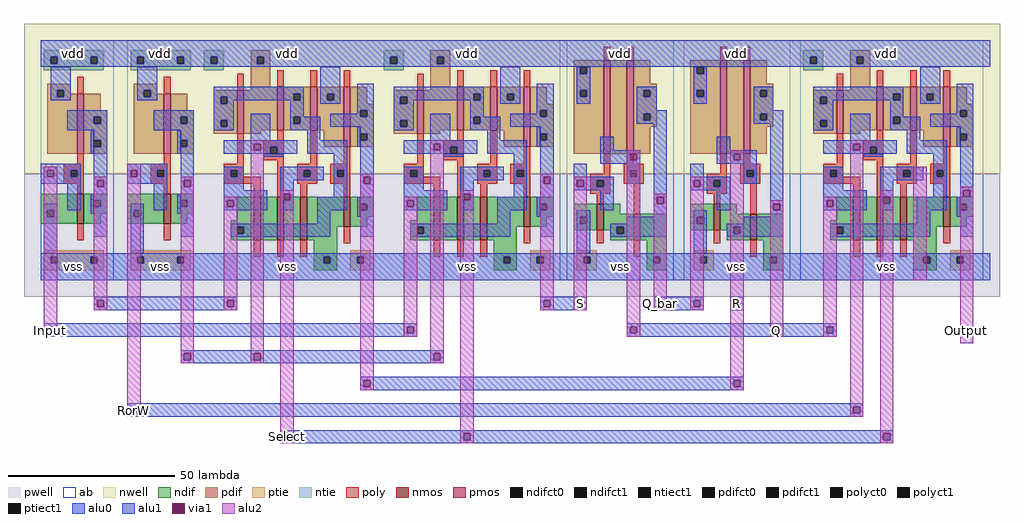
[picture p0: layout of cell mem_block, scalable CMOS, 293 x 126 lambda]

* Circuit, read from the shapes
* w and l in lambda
.subckt mem_block Input Output Q Q_bar R RorW S Select vdd vss
M1 n1 Input vss vss nfet w=9 l=2
M2 n2 RorW vss vss nfet w=9 l=2
M3 n3 n1 n4 vss nfet w=13 l=2
M4 n5 n2 n3 vss nfet w=13 l=2
M5 vss Select n5 vss nfet w=13 l=2
M6 R n4 vss vss nfet w=9 l=2
M7 n6 Input n7 vss nfet w=13 l=2
M8 n8 n2 n6 vss nfet w=13 l=2
M9 vss Select n8 vss nfet w=13 l=2
M10 S n7 vss vss nfet w=9 l=2
M11 Q_bar S vss vss nfet w=8 l=2
M12 vss Q Q_bar vss nfet w=8 l=2
M13 Q Q_bar vss vss nfet w=8 l=2
M14 vss R Q vss nfet w=8 l=2
M15 n9 Q n10 vss nfet w=13 l=2
M16 n11 RorW n9 vss nfet w=13 l=2
M17 vss Select n11 vss nfet w=13 l=2
M18 Output n10 vss vss nfet w=9 l=2
M19 n1 Input vdd vdd pfet w=18 l=2
M20 n2 RorW vdd vdd pfet w=18 l=2
M21 vdd n1 n4 vdd pfet w=13 l=2
M22 n4 n2 vdd vdd pfet w=13 l=2
M23 vdd Select n4 vdd pfet w=13 l=2
M24 R n4 vdd vdd pfet w=18 l=2
M25 vdd Input n7 vdd pfet w=13 l=2
M26 n7 n2 vdd vdd pfet w=13 l=2
M27 vdd Select n7 vdd pfet w=13 l=2
M28 S n7 vdd vdd pfet w=18 l=2
M29 n12 S vdd vdd pfet w=28 l=2
M30 Q_bar Q n12 vdd pfet w=28 l=2
M31 n13 Q_bar vdd vdd pfet w=28 l=2
M32 Q R n13 vdd pfet w=28 l=2
M33 vdd Q n10 vdd pfet w=13 l=2
M34 n10 RorW vdd vdd pfet w=13 l=2
M35 vdd Select n10 vdd pfet w=13 l=2
M36 Output n10 vdd vdd pfet w=18 l=2
.ends

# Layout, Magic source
magic
tech scmos
<< ab >>
rect -179 -34 -157 38
rect -153 -34 -23 38
rect -21 -34 11 38
rect 14 -34 46 38
rect 49 -34 104 38
<< nwell >>
rect -184 -2 109 43
<< pwell >>
rect -184 -39 109 -2
<< poly >>
rect -168 22 -166 27
rect -142 22 -140 27
rect -120 23 -118 28
rect -10 32 -8 36
rect -3 32 -1 36
rect 25 32 27 36
rect 32 32 34 36
rect -108 24 -106 29
rect -98 24 -96 29
rect -88 24 -86 29
rect -168 1 -166 4
rect -142 1 -140 4
rect -120 1 -118 10
rect -108 8 -106 11
rect -112 6 -106 8
rect -112 4 -110 6
rect -108 4 -106 6
rect -112 2 -106 4
rect -172 -1 -166 1
rect -172 -3 -170 -1
rect -168 -3 -166 -1
rect -172 -5 -166 -3
rect -146 -1 -140 1
rect -146 -3 -144 -1
rect -142 -3 -140 -1
rect -146 -5 -140 -3
rect -124 -1 -118 1
rect -124 -3 -122 -1
rect -120 -3 -118 -1
rect -124 -5 -113 -3
rect -168 -8 -166 -5
rect -142 -8 -140 -5
rect -115 -9 -113 -5
rect -108 -9 -106 2
rect -98 1 -96 11
rect -66 23 -64 28
rect -54 24 -52 29
rect -44 24 -42 29
rect -34 24 -32 29
rect -88 1 -86 6
rect -66 1 -64 10
rect -54 8 -52 11
rect -58 6 -52 8
rect -58 4 -56 6
rect -54 4 -52 6
rect -58 2 -52 4
rect -102 -1 -96 1
rect -102 -3 -100 -1
rect -98 -3 -96 -1
rect -102 -5 -96 -3
rect -92 -1 -86 1
rect -92 -3 -90 -1
rect -88 -3 -86 -1
rect -92 -5 -86 -3
rect -70 -1 -64 1
rect -70 -3 -68 -1
rect -66 -3 -64 -1
rect -70 -5 -59 -3
rect -101 -9 -99 -5
rect -88 -9 -86 -5
rect -61 -9 -59 -5
rect -54 -9 -52 2
rect -44 1 -42 11
rect -34 1 -32 6
rect 60 23 62 28
rect 72 24 74 29
rect 82 24 84 29
rect 92 24 94 29
rect -48 -1 -42 1
rect -48 -3 -46 -1
rect -44 -3 -42 -1
rect -48 -5 -42 -3
rect -38 -1 -32 1
rect -38 -3 -36 -1
rect -34 -3 -32 -1
rect -10 -2 -8 4
rect -3 1 -1 4
rect -38 -5 -32 -3
rect -47 -9 -45 -5
rect -34 -9 -32 -5
rect -14 -4 -8 -2
rect -14 -6 -12 -4
rect -10 -6 -8 -4
rect -4 -1 2 1
rect -4 -3 -2 -1
rect 0 -3 2 -1
rect 25 -2 27 4
rect 32 1 34 4
rect 60 1 62 10
rect 72 8 74 11
rect 68 6 74 8
rect 68 4 70 6
rect 72 4 74 6
rect 68 2 74 4
rect -4 -5 2 -3
rect 21 -4 27 -2
rect -14 -8 -8 -6
rect -168 -22 -166 -17
rect -142 -22 -140 -17
rect -115 -27 -113 -22
rect -108 -27 -106 -22
rect -101 -27 -99 -22
rect -88 -23 -86 -18
rect -12 -11 -10 -8
rect -61 -27 -59 -22
rect -54 -27 -52 -22
rect -47 -27 -45 -22
rect -34 -23 -32 -18
rect -1 -14 1 -5
rect 21 -6 23 -4
rect 25 -6 27 -4
rect 31 -1 37 1
rect 31 -3 33 -1
rect 35 -3 37 -1
rect 31 -5 37 -3
rect 56 -1 62 1
rect 56 -3 58 -1
rect 60 -3 62 -1
rect 56 -5 67 -3
rect 21 -8 27 -6
rect 23 -11 25 -8
rect -12 -23 -10 -19
rect 34 -14 36 -5
rect 65 -9 67 -5
rect 72 -9 74 2
rect 82 1 84 11
rect 92 1 94 6
rect 78 -1 84 1
rect 78 -3 80 -1
rect 82 -3 84 -1
rect 78 -5 84 -3
rect 88 -1 94 1
rect 88 -3 90 -1
rect 92 -3 94 -1
rect 88 -5 94 -3
rect 79 -9 81 -5
rect 92 -9 94 -5
rect -1 -27 1 -22
rect 23 -23 25 -19
rect 34 -27 36 -22
rect 65 -27 67 -22
rect 72 -27 74 -22
rect 79 -27 81 -22
rect 92 -23 94 -18
<< ndif >>
rect -179 -13 -168 -8
rect -179 -15 -177 -13
rect -175 -15 -168 -13
rect -179 -17 -168 -15
rect -166 -10 -159 -8
rect -166 -12 -163 -10
rect -161 -12 -159 -10
rect -166 -14 -159 -12
rect -153 -13 -142 -8
rect -166 -17 -161 -14
rect -153 -15 -151 -13
rect -149 -15 -142 -13
rect -153 -17 -142 -15
rect -140 -10 -133 -8
rect -140 -12 -137 -10
rect -135 -12 -133 -10
rect -140 -14 -133 -12
rect -140 -17 -135 -14
rect -120 -16 -115 -9
rect -122 -18 -115 -16
rect -122 -20 -120 -18
rect -118 -20 -115 -18
rect -122 -22 -115 -20
rect -113 -22 -108 -9
rect -106 -22 -101 -9
rect -99 -18 -88 -9
rect -86 -11 -79 -9
rect -86 -13 -83 -11
rect -81 -13 -79 -11
rect -86 -15 -79 -13
rect -86 -18 -81 -15
rect -66 -16 -61 -9
rect -68 -18 -61 -16
rect -99 -22 -90 -18
rect -97 -27 -90 -22
rect -68 -20 -66 -18
rect -64 -20 -61 -18
rect -68 -22 -61 -20
rect -59 -22 -54 -9
rect -52 -22 -47 -9
rect -45 -18 -34 -9
rect -32 -11 -25 -9
rect -32 -13 -29 -11
rect -27 -13 -25 -11
rect -32 -15 -25 -13
rect -19 -15 -12 -11
rect -32 -18 -27 -15
rect -19 -17 -17 -15
rect -15 -17 -12 -15
rect -45 -22 -36 -18
rect -97 -29 -94 -27
rect -92 -29 -90 -27
rect -97 -31 -90 -29
rect -43 -27 -36 -22
rect -19 -19 -12 -17
rect -10 -14 -5 -11
rect -10 -18 -1 -14
rect -10 -19 -6 -18
rect -8 -20 -6 -19
rect -4 -20 -1 -18
rect -8 -22 -1 -20
rect 1 -22 9 -14
rect 16 -15 23 -11
rect 16 -17 18 -15
rect 20 -17 23 -15
rect 16 -19 23 -17
rect 25 -14 30 -11
rect 25 -18 34 -14
rect 25 -19 29 -18
rect -43 -29 -40 -27
rect -38 -29 -36 -27
rect -43 -31 -36 -29
rect 3 -27 9 -22
rect 27 -20 29 -19
rect 31 -20 34 -18
rect 27 -22 34 -20
rect 36 -22 44 -14
rect 60 -16 65 -9
rect 58 -18 65 -16
rect 58 -20 60 -18
rect 62 -20 65 -18
rect 58 -22 65 -20
rect 67 -22 72 -9
rect 74 -22 79 -9
rect 81 -18 92 -9
rect 94 -11 101 -9
rect 94 -13 97 -11
rect 99 -13 101 -11
rect 94 -15 101 -13
rect 94 -18 99 -15
rect 81 -22 90 -18
rect 3 -29 5 -27
rect 7 -29 9 -27
rect 3 -31 9 -29
rect 38 -27 44 -22
rect 83 -27 90 -22
rect 38 -29 40 -27
rect 42 -29 44 -27
rect 38 -31 44 -29
rect 83 -29 86 -27
rect 88 -29 90 -27
rect 83 -31 90 -29
<< pdif >>
rect -116 33 -110 35
rect -116 31 -114 33
rect -112 31 -110 33
rect -177 23 -170 25
rect -177 21 -174 23
rect -172 22 -170 23
rect -151 23 -144 25
rect -172 21 -168 22
rect -177 4 -168 21
rect -166 17 -161 22
rect -151 21 -148 23
rect -146 22 -144 23
rect -116 24 -110 31
rect -62 33 -56 35
rect -62 31 -60 33
rect -58 31 -56 33
rect -116 23 -108 24
rect -146 21 -142 22
rect -166 15 -159 17
rect -166 13 -163 15
rect -161 13 -159 15
rect -166 8 -159 13
rect -166 6 -163 8
rect -161 6 -159 8
rect -166 4 -159 6
rect -151 4 -142 21
rect -140 17 -135 22
rect -127 21 -120 23
rect -127 19 -125 21
rect -123 19 -120 21
rect -140 15 -133 17
rect -140 13 -137 15
rect -135 13 -133 15
rect -140 8 -133 13
rect -127 14 -120 19
rect -127 12 -125 14
rect -123 12 -120 14
rect -127 10 -120 12
rect -118 11 -108 23
rect -106 22 -98 24
rect -106 20 -103 22
rect -101 20 -98 22
rect -106 15 -98 20
rect -106 13 -103 15
rect -101 13 -98 15
rect -106 11 -98 13
rect -96 22 -88 24
rect -96 20 -93 22
rect -91 20 -88 22
rect -96 11 -88 20
rect -118 10 -113 11
rect -140 6 -137 8
rect -135 6 -133 8
rect -140 4 -133 6
rect -94 6 -88 11
rect -86 19 -81 24
rect -62 24 -56 31
rect -19 30 -10 32
rect -19 28 -17 30
rect -15 28 -10 30
rect -62 23 -54 24
rect -73 21 -66 23
rect -73 19 -71 21
rect -69 19 -66 21
rect -86 17 -79 19
rect -86 15 -83 17
rect -81 15 -79 17
rect -86 10 -79 15
rect -73 14 -66 19
rect -73 12 -71 14
rect -69 12 -66 14
rect -73 10 -66 12
rect -64 11 -54 23
rect -52 22 -44 24
rect -52 20 -49 22
rect -47 20 -44 22
rect -52 15 -44 20
rect -52 13 -49 15
rect -47 13 -44 15
rect -52 11 -44 13
rect -42 22 -34 24
rect -42 20 -39 22
rect -37 20 -34 22
rect -42 11 -34 20
rect -64 10 -59 11
rect -86 8 -83 10
rect -81 8 -79 10
rect -86 6 -79 8
rect -40 6 -34 11
rect -32 19 -27 24
rect -19 23 -10 28
rect -19 21 -17 23
rect -15 21 -10 23
rect -32 17 -25 19
rect -32 15 -29 17
rect -27 15 -25 17
rect -32 10 -25 15
rect -32 8 -29 10
rect -27 8 -25 10
rect -32 6 -25 8
rect -19 4 -10 21
rect -8 4 -3 32
rect -1 25 4 32
rect 16 30 25 32
rect 16 28 18 30
rect 20 28 25 30
rect -1 23 6 25
rect -1 21 2 23
rect 4 21 6 23
rect -1 16 6 21
rect -1 14 2 16
rect 4 14 6 16
rect -1 12 6 14
rect 16 23 25 28
rect 16 21 18 23
rect 20 21 25 23
rect -1 4 4 12
rect 16 4 25 21
rect 27 4 32 32
rect 34 25 39 32
rect 64 33 70 35
rect 64 31 66 33
rect 68 31 70 33
rect 34 23 41 25
rect 64 24 70 31
rect 64 23 72 24
rect 34 21 37 23
rect 39 21 41 23
rect 34 16 41 21
rect 34 14 37 16
rect 39 14 41 16
rect 34 12 41 14
rect 53 21 60 23
rect 53 19 55 21
rect 57 19 60 21
rect 53 14 60 19
rect 53 12 55 14
rect 57 12 60 14
rect 34 4 39 12
rect 53 10 60 12
rect 62 11 72 23
rect 74 22 82 24
rect 74 20 77 22
rect 79 20 82 22
rect 74 15 82 20
rect 74 13 77 15
rect 79 13 82 15
rect 74 11 82 13
rect 84 22 92 24
rect 84 20 87 22
rect 89 20 92 22
rect 84 11 92 20
rect 62 10 67 11
rect 86 6 92 11
rect 94 19 99 24
rect 94 17 101 19
rect 94 15 97 17
rect 99 15 101 17
rect 94 10 101 15
rect 94 8 97 10
rect 99 8 101 10
rect 94 6 101 8
<< alu1 >>
rect -179 33 106 38
rect -179 31 -176 33
rect -174 31 -164 33
rect -162 31 -150 33
rect -148 31 -138 33
rect -136 31 -128 33
rect -126 31 -114 33
rect -112 31 -74 33
rect -72 31 -60 33
rect -58 31 52 33
rect 54 31 66 33
rect 68 31 106 33
rect -179 30 106 31
rect -171 15 -159 17
rect -171 13 -163 15
rect -161 13 -159 15
rect -171 11 -159 13
rect -145 15 -133 17
rect -145 13 -137 15
rect -135 13 -133 15
rect -145 11 -133 13
rect -163 8 -159 11
rect -161 6 -159 8
rect -179 -1 -167 1
rect -179 -3 -177 -1
rect -175 -3 -170 -1
rect -168 -3 -167 -1
rect -179 -5 -167 -3
rect -171 -13 -167 -5
rect -163 -4 -159 6
rect -137 8 -133 11
rect -116 8 -110 16
rect -84 17 -79 25
rect -84 16 -83 17
rect -92 15 -83 16
rect -81 15 -79 17
rect -92 12 -79 15
rect -135 6 -133 8
rect -163 -6 -162 -4
rect -160 -6 -159 -4
rect -153 -1 -141 1
rect -153 -3 -152 -1
rect -150 -3 -144 -1
rect -142 -3 -141 -1
rect -153 -5 -141 -3
rect -163 -10 -159 -6
rect -161 -12 -159 -10
rect -163 -21 -159 -12
rect -145 -13 -141 -5
rect -137 -4 -133 6
rect -124 7 -102 8
rect -124 5 -115 7
rect -113 6 -102 7
rect -113 5 -110 6
rect -124 4 -110 5
rect -108 4 -102 6
rect -83 10 -79 12
rect -81 8 -79 10
rect -62 8 -56 16
rect -30 17 -25 25
rect 0 23 6 24
rect 0 21 2 23
rect 4 21 6 23
rect -30 16 -29 17
rect -38 15 -29 16
rect -27 15 -25 17
rect -38 12 -25 15
rect 0 17 6 21
rect 35 23 41 24
rect 35 21 37 23
rect 39 21 41 23
rect 35 17 41 21
rect 0 16 9 17
rect 0 14 2 16
rect 4 14 9 16
rect 0 13 9 14
rect 35 16 44 17
rect 35 14 37 16
rect 39 14 44 16
rect 35 13 44 14
rect -137 -6 -136 -4
rect -134 -6 -133 -4
rect -137 -10 -133 -6
rect -135 -12 -133 -10
rect -137 -21 -133 -12
rect -124 -1 -118 0
rect -124 -3 -122 -1
rect -120 -3 -118 -1
rect -124 -7 -118 -3
rect -107 -1 -94 0
rect -107 -3 -100 -1
rect -98 -3 -94 -1
rect -107 -4 -94 -3
rect -124 -10 -111 -7
rect -124 -12 -123 -10
rect -121 -12 -111 -10
rect -124 -13 -111 -12
rect -107 -8 -103 -4
rect -107 -10 -106 -8
rect -104 -10 -103 -8
rect -83 -3 -79 8
rect -70 7 -48 8
rect -70 5 -61 7
rect -59 6 -48 7
rect -59 5 -56 6
rect -70 4 -56 5
rect -54 4 -48 6
rect -29 10 -25 12
rect -27 8 -25 10
rect -83 -5 -82 -3
rect -80 -5 -79 -3
rect -107 -13 -103 -10
rect -83 -11 -79 -5
rect -81 -13 -79 -11
rect -70 -1 -64 0
rect -70 -3 -68 -1
rect -66 -3 -64 -1
rect -70 -7 -64 -3
rect -53 -1 -40 0
rect -53 -3 -46 -1
rect -44 -3 -40 -1
rect -53 -4 -40 -3
rect -70 -10 -57 -7
rect -70 -12 -69 -10
rect -67 -12 -57 -10
rect -70 -13 -57 -12
rect -53 -8 -49 -4
rect -53 -10 -52 -8
rect -50 -10 -49 -8
rect -29 -3 -25 8
rect -11 5 -7 9
rect -11 4 1 5
rect -11 2 -2 4
rect 0 2 1 4
rect -11 1 1 2
rect -29 -5 -28 -3
rect -26 -5 -25 -3
rect -53 -13 -49 -10
rect -83 -21 -79 -13
rect -29 -11 -25 -5
rect -19 -3 -15 1
rect -3 -1 1 1
rect -3 -3 -2 -1
rect 0 -3 1 -1
rect -19 -4 -7 -3
rect -19 -6 -18 -4
rect -16 -6 -12 -4
rect -10 -6 -7 -4
rect -3 -5 1 -3
rect -19 -7 -7 -6
rect -27 -13 -25 -11
rect -11 -13 -7 -7
rect 5 -9 9 13
rect 24 5 28 9
rect 24 4 36 5
rect 24 2 29 4
rect 31 2 36 4
rect 24 1 36 2
rect 16 -3 20 1
rect 32 -1 36 1
rect 32 -3 33 -1
rect 35 -3 36 -1
rect 16 -4 28 -3
rect 16 -6 17 -4
rect 19 -6 23 -4
rect 25 -6 28 -4
rect 32 -5 36 -3
rect 16 -7 28 -6
rect 5 -11 6 -9
rect 8 -11 9 -9
rect -29 -21 -25 -13
rect 5 -15 9 -11
rect 24 -13 28 -7
rect 40 -11 44 13
rect 64 8 70 16
rect 96 17 101 25
rect 96 16 97 17
rect 88 15 97 16
rect 99 15 101 17
rect 88 12 101 15
rect 56 7 78 8
rect 56 5 65 7
rect 67 6 78 7
rect 67 5 70 6
rect 56 4 70 5
rect 72 4 78 6
rect 97 10 101 12
rect 99 8 101 10
rect 40 -13 41 -11
rect 43 -13 44 -11
rect 56 -1 62 0
rect 56 -3 58 -1
rect 60 -3 62 -1
rect 56 -7 62 -3
rect 73 -1 86 0
rect 73 -3 80 -1
rect 82 -3 86 -1
rect 73 -4 86 -3
rect 56 -10 69 -7
rect 56 -12 57 -10
rect 59 -12 69 -10
rect 56 -13 69 -12
rect 73 -9 77 -4
rect 97 -7 101 8
rect 97 -9 98 -7
rect 100 -9 101 -7
rect 73 -11 74 -9
rect 76 -11 77 -9
rect 73 -13 77 -11
rect -3 -17 9 -15
rect -8 -18 9 -17
rect -8 -20 -6 -18
rect -4 -20 9 -18
rect -8 -21 9 -20
rect 40 -15 44 -13
rect 32 -17 44 -15
rect 97 -11 101 -9
rect 99 -13 101 -11
rect 27 -18 44 -17
rect 27 -20 29 -18
rect 31 -20 44 -18
rect 27 -21 44 -20
rect 97 -21 101 -13
rect -179 -27 106 -26
rect -179 -29 -176 -27
rect -174 -29 -164 -27
rect -162 -29 -150 -27
rect -148 -29 -138 -27
rect -136 -29 -94 -27
rect -92 -29 -84 -27
rect -82 -29 -40 -27
rect -38 -29 -30 -27
rect -28 -29 -16 -27
rect -14 -29 5 -27
rect 7 -29 19 -27
rect 21 -29 40 -27
rect 42 -29 86 -27
rect 88 -29 96 -27
rect 98 -29 106 -27
rect -179 -34 106 -29
rect -163 -40 -120 -39
rect -163 -42 -162 -40
rect -160 -42 -123 -40
rect -121 -42 -120 -40
rect -163 -43 -120 -42
rect -29 -40 -15 -39
rect -29 -42 -28 -40
rect -26 -42 -18 -40
rect -16 -42 -15 -40
rect -29 -43 -15 -42
rect 5 -40 20 -39
rect 5 -42 6 -40
rect 8 -42 17 -40
rect 19 -42 20 -40
rect 5 -43 20 -42
rect 28 -40 32 -39
rect 28 -42 29 -40
rect 31 -42 32 -40
rect 28 -43 32 -42
rect -178 -48 -66 -47
rect -178 -50 -177 -48
rect -175 -50 -69 -48
rect -67 -50 -66 -48
rect -178 -51 -66 -50
rect -3 -48 60 -47
rect -3 -50 -2 -48
rect 0 -50 41 -48
rect 43 -50 57 -48
rect 59 -50 60 -48
rect -3 -51 60 -50
rect -137 -56 -58 -55
rect -137 -58 -136 -56
rect -134 -58 -115 -56
rect -113 -58 -61 -56
rect -59 -58 -58 -56
rect -137 -59 -58 -58
rect -83 -64 32 -63
rect -83 -66 -82 -64
rect -80 -66 29 -64
rect 31 -66 32 -64
rect -83 -67 32 -66
rect -153 -72 68 -71
rect -153 -74 -152 -72
rect -150 -74 65 -72
rect 67 -74 68 -72
rect -153 -75 68 -74
rect -107 -80 77 -79
rect -107 -82 -106 -80
rect -104 -82 -52 -80
rect -50 -82 74 -80
rect 76 -82 77 -80
rect -107 -83 77 -82
<< alu2 >>
rect -116 7 -112 8
rect -116 5 -115 7
rect -113 5 -112 7
rect -178 -1 -174 0
rect -178 -3 -177 -1
rect -175 -3 -174 -1
rect -153 -1 -149 1
rect -153 -3 -152 -1
rect -150 -3 -149 -1
rect -178 -48 -174 -3
rect -163 -4 -159 -3
rect -163 -6 -162 -4
rect -160 -6 -159 -4
rect -163 -40 -159 -6
rect -163 -42 -162 -40
rect -160 -42 -159 -40
rect -163 -43 -159 -42
rect -178 -50 -177 -48
rect -175 -50 -174 -48
rect -178 -51 -174 -50
rect -153 -72 -149 -3
rect -137 -4 -133 -3
rect -137 -6 -136 -4
rect -134 -6 -133 -4
rect -137 -56 -133 -6
rect -124 -10 -120 -9
rect -124 -12 -123 -10
rect -121 -12 -120 -10
rect -124 -40 -120 -12
rect -124 -42 -123 -40
rect -121 -42 -120 -40
rect -124 -43 -120 -42
rect -137 -58 -136 -56
rect -134 -58 -133 -56
rect -137 -59 -133 -58
rect -116 -56 -112 5
rect -62 7 -58 8
rect -62 5 -61 7
rect -59 5 -58 7
rect 64 7 68 8
rect 64 5 65 7
rect 67 5 68 7
rect -83 -3 -79 -2
rect -83 -5 -82 -3
rect -80 -5 -79 -3
rect -116 -58 -115 -56
rect -113 -58 -112 -56
rect -116 -59 -112 -58
rect -107 -8 -103 -7
rect -107 -10 -106 -8
rect -104 -10 -103 -8
rect -153 -74 -152 -72
rect -150 -74 -149 -72
rect -153 -75 -149 -74
rect -107 -80 -103 -10
rect -83 -64 -79 -5
rect -70 -10 -66 -9
rect -70 -12 -69 -10
rect -67 -12 -66 -10
rect -70 -48 -66 -12
rect -70 -50 -69 -48
rect -67 -50 -66 -48
rect -70 -51 -66 -50
rect -62 -56 -58 5
rect -3 4 1 5
rect -3 2 -2 4
rect 0 2 1 4
rect -29 -3 -25 -2
rect -29 -5 -28 -3
rect -26 -5 -25 -3
rect -62 -58 -61 -56
rect -59 -58 -58 -56
rect -62 -59 -58 -58
rect -53 -8 -49 -7
rect -53 -10 -52 -8
rect -50 -10 -49 -8
rect -83 -66 -82 -64
rect -80 -66 -79 -64
rect -83 -67 -79 -66
rect -107 -82 -106 -80
rect -104 -82 -103 -80
rect -107 -83 -103 -82
rect -53 -80 -49 -10
rect -29 -40 -25 -5
rect -29 -42 -28 -40
rect -26 -42 -25 -40
rect -29 -43 -25 -42
rect -19 -4 -15 -3
rect -19 -6 -18 -4
rect -16 -6 -15 -4
rect -19 -40 -15 -6
rect -19 -42 -18 -40
rect -16 -42 -15 -40
rect -19 -43 -15 -42
rect -3 -48 1 2
rect 28 4 32 5
rect 28 2 29 4
rect 31 2 32 4
rect 16 -4 20 -3
rect 16 -6 17 -4
rect 19 -6 20 -4
rect 5 -9 9 -8
rect 5 -11 6 -9
rect 8 -11 9 -9
rect 5 -40 9 -11
rect 5 -42 6 -40
rect 8 -42 9 -40
rect 5 -43 9 -42
rect 16 -40 20 -6
rect 16 -42 17 -40
rect 19 -42 20 -40
rect 16 -43 20 -42
rect 28 -40 32 2
rect 56 -10 60 -9
rect 28 -42 29 -40
rect 31 -42 32 -40
rect -3 -50 -2 -48
rect 0 -50 1 -48
rect -3 -51 1 -50
rect 28 -64 32 -42
rect 40 -11 44 -10
rect 40 -13 41 -11
rect 43 -13 44 -11
rect 40 -48 44 -13
rect 40 -50 41 -48
rect 43 -50 44 -48
rect 40 -51 44 -50
rect 56 -12 57 -10
rect 59 -12 60 -10
rect 56 -48 60 -12
rect 56 -50 57 -48
rect 59 -50 60 -48
rect 56 -51 60 -50
rect 28 -66 29 -64
rect 31 -66 32 -64
rect 28 -67 32 -66
rect 64 -72 68 5
rect 64 -74 65 -72
rect 67 -74 68 -72
rect 64 -75 68 -74
rect 73 -9 77 -7
rect 73 -11 74 -9
rect 76 -11 77 -9
rect -53 -82 -52 -80
rect -50 -82 -49 -80
rect -53 -83 -49 -82
rect 73 -80 77 -11
rect 83 -34 87 0
rect 97 -7 101 -6
rect 97 -9 98 -7
rect 100 -9 101 -7
rect 97 -53 101 -9
rect 73 -82 74 -80
rect 76 -82 77 -80
rect 73 -83 77 -82
<< ptie >>
rect -178 -27 -160 -25
rect -178 -29 -176 -27
rect -174 -29 -164 -27
rect -162 -29 -160 -27
rect -178 -31 -160 -29
rect -152 -27 -134 -25
rect -152 -29 -150 -27
rect -148 -29 -138 -27
rect -136 -29 -134 -27
rect -152 -31 -134 -29
rect -86 -27 -80 -25
rect -86 -29 -84 -27
rect -82 -29 -80 -27
rect -86 -31 -80 -29
rect -32 -27 -26 -25
rect -32 -29 -30 -27
rect -28 -29 -26 -27
rect -32 -31 -26 -29
rect -18 -27 -12 -25
rect -18 -29 -16 -27
rect -14 -29 -12 -27
rect -18 -31 -12 -29
rect 17 -27 23 -25
rect 17 -29 19 -27
rect 21 -29 23 -27
rect 17 -31 23 -29
rect 94 -27 100 -25
rect 94 -29 96 -27
rect 98 -29 100 -27
rect 94 -31 100 -29
<< ntie >>
rect -178 33 -160 35
rect -178 31 -176 33
rect -174 31 -164 33
rect -162 31 -160 33
rect -178 29 -160 31
rect -152 33 -134 35
rect -152 31 -150 33
rect -148 31 -138 33
rect -136 31 -134 33
rect -152 29 -134 31
rect -130 33 -124 35
rect -130 31 -128 33
rect -126 31 -124 33
rect -130 29 -124 31
rect -76 33 -70 35
rect -76 31 -74 33
rect -72 31 -70 33
rect -76 29 -70 31
rect 50 33 56 35
rect 50 31 52 33
rect 54 31 56 33
rect 50 29 56 31
<< nmos >>
rect -168 -17 -166 -8
rect -142 -17 -140 -8
rect -115 -22 -113 -9
rect -108 -22 -106 -9
rect -101 -22 -99 -9
rect -88 -18 -86 -9
rect -61 -22 -59 -9
rect -54 -22 -52 -9
rect -47 -22 -45 -9
rect -34 -18 -32 -9
rect -12 -19 -10 -11
rect -1 -22 1 -14
rect 23 -19 25 -11
rect 34 -22 36 -14
rect 65 -22 67 -9
rect 72 -22 74 -9
rect 79 -22 81 -9
rect 92 -18 94 -9
<< pmos >>
rect -168 4 -166 22
rect -142 4 -140 22
rect -120 10 -118 23
rect -108 11 -106 24
rect -98 11 -96 24
rect -88 6 -86 24
rect -66 10 -64 23
rect -54 11 -52 24
rect -44 11 -42 24
rect -34 6 -32 24
rect -10 4 -8 32
rect -3 4 -1 32
rect 25 4 27 32
rect 32 4 34 32
rect 60 10 62 23
rect 72 11 74 24
rect 82 11 84 24
rect 92 6 94 24
<< polyct0 >>
rect -90 -3 -88 -1
rect -36 -3 -34 -1
rect 90 -3 92 -1
<< polyct1 >>
rect -110 4 -108 6
rect -170 -3 -168 -1
rect -144 -3 -142 -1
rect -122 -3 -120 -1
rect -56 4 -54 6
rect -100 -3 -98 -1
rect -68 -3 -66 -1
rect -46 -3 -44 -1
rect -12 -6 -10 -4
rect -2 -3 0 -1
rect 70 4 72 6
rect 23 -6 25 -4
rect 33 -3 35 -1
rect 58 -3 60 -1
rect 80 -3 82 -1
<< ndifct0 >>
rect -177 -15 -175 -13
rect -151 -15 -149 -13
rect -120 -20 -118 -18
rect -66 -20 -64 -18
rect -17 -17 -15 -15
rect 18 -17 20 -15
rect 60 -20 62 -18
<< ndifct1 >>
rect -163 -12 -161 -10
rect -137 -12 -135 -10
rect -83 -13 -81 -11
rect -29 -13 -27 -11
rect -94 -29 -92 -27
rect -6 -20 -4 -18
rect -40 -29 -38 -27
rect 29 -20 31 -18
rect 97 -13 99 -11
rect 5 -29 7 -27
rect 40 -29 42 -27
rect 86 -29 88 -27
<< ntiect1 >>
rect -176 31 -174 33
rect -164 31 -162 33
rect -150 31 -148 33
rect -138 31 -136 33
rect -128 31 -126 33
rect -74 31 -72 33
rect 52 31 54 33
<< ptiect1 >>
rect -176 -29 -174 -27
rect -164 -29 -162 -27
rect -150 -29 -148 -27
rect -138 -29 -136 -27
rect -84 -29 -82 -27
rect -30 -29 -28 -27
rect -16 -29 -14 -27
rect 19 -29 21 -27
rect 96 -29 98 -27
<< pdifct0 >>
rect -174 21 -172 23
rect -148 21 -146 23
rect -125 19 -123 21
rect -125 12 -123 14
rect -103 20 -101 22
rect -103 13 -101 15
rect -93 20 -91 22
rect -17 28 -15 30
rect -71 19 -69 21
rect -71 12 -69 14
rect -49 20 -47 22
rect -49 13 -47 15
rect -39 20 -37 22
rect -17 21 -15 23
rect 18 28 20 30
rect 18 21 20 23
rect 55 19 57 21
rect 55 12 57 14
rect 77 20 79 22
rect 77 13 79 15
rect 87 20 89 22
<< pdifct1 >>
rect -114 31 -112 33
rect -60 31 -58 33
rect -163 13 -161 15
rect -163 6 -161 8
rect -137 13 -135 15
rect -137 6 -135 8
rect -83 15 -81 17
rect -83 8 -81 10
rect -29 15 -27 17
rect -29 8 -27 10
rect 2 21 4 23
rect 2 14 4 16
rect 66 31 68 33
rect 37 21 39 23
rect 37 14 39 16
rect 97 15 99 17
rect 97 8 99 10
<< alu0 >>
rect -176 23 -170 30
rect -176 21 -174 23
rect -172 21 -170 23
rect -176 20 -170 21
rect -150 23 -144 30
rect -150 21 -148 23
rect -146 21 -144 23
rect -150 20 -144 21
rect -127 22 -100 24
rect -127 21 -103 22
rect -127 19 -125 21
rect -123 20 -103 21
rect -101 20 -100 22
rect -123 19 -121 20
rect -127 14 -121 19
rect -127 12 -125 14
rect -123 12 -121 14
rect -127 11 -121 12
rect -164 4 -163 11
rect -178 -13 -174 -11
rect -138 4 -137 11
rect -104 15 -100 20
rect -95 22 -89 30
rect -95 20 -93 22
rect -91 20 -89 22
rect -95 19 -89 20
rect -104 13 -103 15
rect -101 13 -95 15
rect -104 11 -95 13
rect -99 8 -95 11
rect -178 -15 -177 -13
rect -175 -15 -174 -13
rect -164 -14 -163 -8
rect -178 -26 -174 -15
rect -152 -13 -148 -11
rect -99 4 -87 8
rect -84 6 -83 12
rect -73 22 -46 24
rect -73 21 -49 22
rect -73 19 -71 21
rect -69 20 -49 21
rect -47 20 -46 22
rect -69 19 -67 20
rect -73 14 -67 19
rect -73 12 -71 14
rect -69 12 -67 14
rect -73 11 -67 12
rect -50 15 -46 20
rect -41 22 -35 30
rect -18 28 -17 30
rect -15 28 -14 30
rect -41 20 -39 22
rect -37 20 -35 22
rect -41 19 -35 20
rect -18 23 -14 28
rect 17 28 18 30
rect 20 28 21 30
rect -18 21 -17 23
rect -15 21 -14 23
rect -18 19 -14 21
rect -50 13 -49 15
rect -47 13 -41 15
rect -50 11 -41 13
rect 17 23 21 28
rect 17 21 18 23
rect 20 21 21 23
rect 17 19 21 21
rect 53 22 80 24
rect 53 21 77 22
rect 53 19 55 21
rect 57 20 77 21
rect 79 20 80 22
rect 57 19 59 20
rect -45 8 -41 11
rect -112 3 -106 4
rect -152 -15 -151 -13
rect -149 -15 -148 -13
rect -138 -14 -137 -8
rect -152 -26 -148 -15
rect -91 -1 -87 4
rect -91 -3 -90 -1
rect -88 -3 -87 -1
rect -91 -9 -87 -3
rect -45 4 -33 8
rect -30 6 -29 12
rect -58 3 -52 4
rect -96 -13 -87 -9
rect -96 -17 -92 -13
rect -84 -15 -83 -9
rect -37 -1 -33 4
rect -37 -3 -36 -1
rect -34 -3 -33 -1
rect -37 -9 -33 -3
rect -42 -13 -33 -9
rect -122 -18 -92 -17
rect -122 -20 -120 -18
rect -118 -20 -92 -18
rect -122 -21 -92 -20
rect -42 -17 -38 -13
rect -30 -15 -29 -9
rect -68 -18 -38 -17
rect -68 -20 -66 -18
rect -64 -20 -38 -18
rect -68 -21 -38 -20
rect -18 -15 -14 -13
rect 53 14 59 19
rect 53 12 55 14
rect 57 12 59 14
rect 53 11 59 12
rect 76 15 80 20
rect 85 22 91 30
rect 85 20 87 22
rect 89 20 91 22
rect 85 19 91 20
rect 76 13 77 15
rect 79 13 85 15
rect 76 11 85 13
rect 81 8 85 11
rect 81 4 93 8
rect 96 6 97 12
rect 68 3 74 4
rect 89 -1 93 4
rect 89 -3 90 -1
rect 92 -3 93 -1
rect 89 -9 93 -3
rect 84 -13 93 -9
rect -18 -17 -17 -15
rect -15 -17 -14 -15
rect -18 -26 -14 -17
rect 17 -15 21 -13
rect 17 -17 18 -15
rect 20 -17 21 -15
rect 84 -17 88 -13
rect 96 -15 97 -9
rect 17 -26 21 -17
rect 58 -18 88 -17
rect 58 -20 60 -18
rect 62 -20 88 -18
rect 58 -21 88 -20
<< via1 >>
rect -177 -3 -175 -1
rect -162 -6 -160 -4
rect -152 -3 -150 -1
rect -115 5 -113 7
rect -136 -6 -134 -4
rect -123 -12 -121 -10
rect -106 -10 -104 -8
rect -61 5 -59 7
rect -82 -5 -80 -3
rect -69 -12 -67 -10
rect -52 -10 -50 -8
rect -2 2 0 4
rect -28 -5 -26 -3
rect -18 -6 -16 -4
rect 29 2 31 4
rect 17 -6 19 -4
rect 6 -11 8 -9
rect 65 5 67 7
rect 41 -13 43 -11
rect 57 -12 59 -10
rect 98 -9 100 -7
rect 74 -11 76 -9
rect -162 -42 -160 -40
rect -123 -42 -121 -40
rect -28 -42 -26 -40
rect -18 -42 -16 -40
rect 6 -42 8 -40
rect 17 -42 19 -40
rect 29 -42 31 -40
rect -177 -50 -175 -48
rect -69 -50 -67 -48
rect -2 -50 0 -48
rect 41 -50 43 -48
rect 57 -50 59 -48
rect -136 -58 -134 -56
rect -115 -58 -113 -56
rect -61 -58 -59 -56
rect -82 -66 -80 -64
rect 29 -66 31 -64
rect -152 -74 -150 -72
rect 65 -74 67 -72
rect -106 -82 -104 -80
rect -52 -82 -50 -80
rect 74 -82 76 -80
<< labels >>
rlabel alu1 75 -30 75 -30 4 vss
rlabel alu1 75 34 75 34 4 vdd
rlabel alu1 -51 -30 -51 -30 4 vss
rlabel alu1 -51 34 -51 34 4 vdd
rlabel alu1 -105 34 -105 34 4 vdd
rlabel alu1 -105 -30 -105 -30 4 vss
rlabel alu1 -169 34 -169 34 4 vdd
rlabel alu1 -169 -30 -169 -30 4 vss
rlabel alu1 -143 -30 -143 -30 4 vss
rlabel alu1 -143 34 -143 34 4 vdd
rlabel via1 -176 -49 -176 -49 1 Input
rlabel alu2 99 -49 99 -49 1 Output
rlabel via1 -151 -73 -151 -73 1 RorW
rlabel via1 -105 -81 -105 -81 1 Select
rlabel via1 30 -41 30 -41 1 R
rlabel via1 -17 -41 -17 -41 1 S
rlabel via1 42 -49 42 -49 1 Q
rlabel via1 7 -41 7 -41 1 Q_bar
rlabel alu1 30 -30 30 -30 4 vss
rlabel alu1 30 34 30 34 4 vdd
rlabel alu1 -5 34 -5 34 4 vdd
rlabel alu1 -5 -30 -5 -30 4 vss
<< end >>
